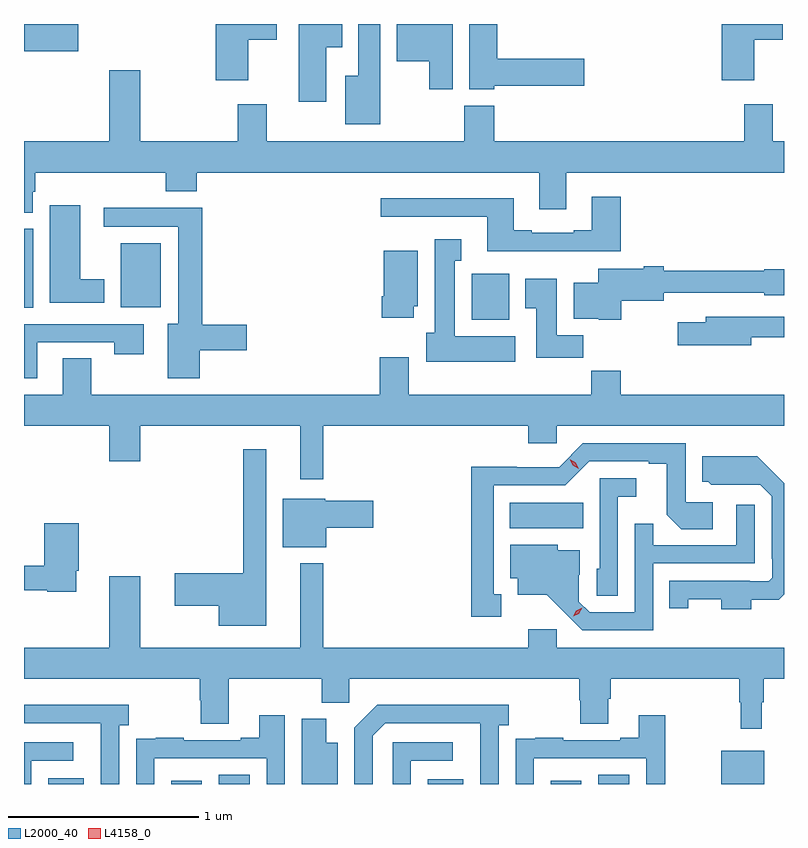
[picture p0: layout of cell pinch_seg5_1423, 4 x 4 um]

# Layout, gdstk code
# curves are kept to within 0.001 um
import gdstk
lib = gdstk.Library(unit=1e-6, precision=1e-09)
def R(c, l, rs):  # rectangles x0, y0, x1, y1
    for r in rs: c.add(gdstk.rectangle(r[:2], r[2:], *l))
def P(c, l, *ps):  # polygons
    for p in ps: c.add(gdstk.Polygon(p, *l))
L2000_40 = (2000, 40)
L4158_0 = (4158, 0)

pinch_seg5_1423 = lib.new_cell('pinch_seg5_1423')
R(pinch_seg5_1423, L2000_40, [(140.711,884.178,140.899,884.209), (141.359,884.178,141.52,884.194), (141.608,884.178,141.772,884.228), (142.709,884.178,142.897,884.203), (143.357,884.178,143.518,884.194), (143.606,884.178,143.77,884.228), (144.254,884.178,144.481,884.353), (143.141,885.524,143.528,885.658), (142.94,886.622,143.137,886.864), (140.584,886.684,140.632,887.1), (141.092,886.688,141.304,887.023)])
P(pinch_seg5_1423, L2000_40, [(144.427,888.094),(144.577,888.094),(144.577,888.178),(144.257,888.178),(144.257,887.883),(144.427,887.883)],
  [(142.174,888.056),(142.258,888.056),(142.258,888.178),(142.031,888.178),(142.031,887.769),(142.174,887.769)],
  [(142.84,888.178),(142.547,888.178),(142.547,887.981),(142.718,887.981),(142.718,887.835),(142.84,887.835)],
  [(142.459,888.178),(142.343,888.178),(142.343,887.905),(142.274,887.905),(142.274,887.651),(142.459,887.651)],
  [(140.869,888.176),(140.608,888.176),(140.608,888.178),(140.584,888.178),(140.584,888.034),(140.869,888.034)],
  [(141.763,888.094),(141.913,888.094),(141.913,888.178),(141.593,888.178),(141.593,887.883),(141.763,887.883)],
  [(143.058,887.854),(143.533,887.854),(143.533,887.996),(143.075,887.996),(143.075,888.178),(142.928,888.178),(142.928,887.834),(143.058,887.834)],
  [(140.629,887.295),(140.642,887.295),(140.642,887.396),(141.329,887.396),(141.329,887.297),(141.494,887.297),(141.494,887.396),(143.297,887.396),(143.297,887.202),(143.437,887.202),(143.437,887.396),(144.584,887.396),(144.584,887.56),(144.526,887.56),(144.526,887.755),(144.374,887.755),(144.374,887.56),(143.06,887.56),(143.06,887.749),(142.9,887.749),(142.9,887.56),(141.862,887.56),(141.862,887.755),(141.71,887.755),(141.71,887.56),(141.196,887.56),(141.196,887.935),(141.032,887.935),(141.032,887.56),(140.584,887.56),(140.584,887.185),(140.629,887.185)],
  [(143.726,887.269),(143.573,887.269),(143.573,887.092),(143.477,887.092),(143.477,887.079),(143.257,887.079),(143.257,887.092),(143.161,887.092),(143.161,887.26),(142.461,887.26),(142.461,887.163),(143.021,887.163),(143.021,886.982),(143.726,886.982)],
  [(141.007,886.834),(140.881,886.834),(140.881,887.224),(140.72,887.224),(140.72,886.712),(141.007,886.712)],
  [(141.508,886.46),(141.757,886.46),(141.757,886.595),(141.521,886.595),(141.521,887.21),(141.003,887.21),(141.003,887.112),(141.395,887.112),(141.395,886.6),(141.341,886.6),(141.341,886.314),(141.508,886.314)],
  [(143.17,886.534),(142.852,886.534),(142.852,886.931),(142.885,886.931),(142.885,887.044),(142.745,887.044),(142.745,886.554),(142.7,886.554),(142.7,886.4),(143.17,886.4)],
  [(142.636,886.692),(142.657,886.692),(142.657,886.984),(142.478,886.984),(142.478,886.744),(142.466,886.744),(142.466,886.632),(142.636,886.632)],
  [(143.728,886.721),(143.95,886.721),(143.95,886.764),(144.48,886.764),(144.48,886.751),(144.584,886.751),(144.584,886.886),(144.48,886.886),(144.48,886.88),(143.95,886.88),(143.95,886.904),(143.846,886.904),(143.846,886.891),(143.606,886.891),(143.606,886.816),(143.477,886.816),(143.477,886.628),(143.61,886.628),(143.61,886.622),(143.728,886.622)],
  [(143.528,886.54),(143.389,886.54),(143.389,886.837),(143.222,886.837),(143.222,886.681),(143.279,886.681),(143.279,886.422),(143.528,886.422)],
  [(144.412,886.53),(144.584,886.53),(144.584,886.638),(144.173,886.638),(144.173,886.609),(144.024,886.609),(144.024,886.487),(144.412,886.487)],
  [(140.653,886.503),(141.058,886.503),(141.058,886.44),(141.214,886.44),(141.214,886.599),(140.584,886.599),(140.584,886.314),(140.653,886.314)],
  [(142.159,886.064),(143.237,886.064),(143.237,885.971),(143.388,885.971),(143.388,886.064),(144.584,886.064),(144.584,886.228),(143.726,886.228),(143.726,886.352),(143.569,886.352),(143.569,886.228),(142.609,886.228),(142.609,886.423),(142.457,886.423),(142.457,886.228),(140.937,886.228),(140.937,886.418),(140.789,886.418),(140.789,886.228),(140.584,886.228),(140.584,886.064),(141.032,886.064),(141.032,885.876),(141.196,885.876),(141.196,886.064),(142.037,886.064),(142.037,885.783),(142.159,885.783)],
  [(143.095,885.177),(143.056,885.177),(143.056,885.75),(143.433,885.75),(143.559,885.876),(143.873,885.876),(143.873,885.864),(143.967,885.864),(143.967,885.596),(144.043,885.52),(144.208,885.52),(144.208,885.66),(144.066,885.66),(144.066,885.972),(143.526,885.972),(143.4,885.846),(143.178,885.846),(143.178,885.848),(142.938,885.848),(142.938,885.057),(143.095,885.057)],
  [(141.859,885.94),(141.738,885.94),(141.738,885.287),(141.378,885.287),(141.378,885.116),(141.608,885.116),(141.608,885.011),(141.859,885.011)],
  [(144.412,885.149),(144.556,885.149),(144.584,885.177),(144.584,885.761),(144.443,885.904),(144.155,885.904),(144.155,885.768),(144.186,885.768),(144.202,885.752),(144.459,885.753),(144.519,885.693),(144.519,885.364),(144.522,885.364),(144.522,885.264),(144.504,885.246),(144.404,885.246),(144.404,885.249),(143.98,885.249),(143.98,885.102),(144.081,885.102),(144.081,885.151),(144.254,885.151),(144.254,885.098),(144.412,885.098)],
  [(143.709,885.689),(143.806,885.689),(143.806,885.786),(143.613,885.786),(143.613,885.312),(143.598,885.312),(143.598,885.169),(143.709,885.169)],
  [(142.174,885.527),(142.423,885.527),(142.423,885.669),(142.17,885.669),(142.17,885.679),(141.947,885.679),(141.947,885.425),(142.174,885.425)],
  [(143.895,885.339),(144.429,885.339),(144.429,885.649),(144.333,885.649),(144.333,885.435),(143.897,885.435),(143.897,885.548),(143.799,885.548),(143.799,885.081),(143.562,885.081),(143.505,885.138),(143.505,885.28),(143.509,885.28),(143.509,885.409),(143.394,885.409),(143.394,885.436),(143.144,885.436),(143.144,885.26),(143.183,885.26),(143.183,885.173),(143.335,885.173),(143.522,884.988),(143.895,884.988)],
  [(140.86,885.301),(140.873,885.301),(140.873,885.55),(140.69,885.55),(140.69,885.326),(140.584,885.326),(140.584,885.198),(140.706,885.198),(140.706,885.19),(140.86,885.19)],
  [(144.466,884.609),(144.478,884.609),(144.478,884.732),(144.584,884.732),(144.584,884.896),(143.388,884.896),(143.388,884.992),(143.237,884.992),(143.237,884.896),(142.159,884.896),(142.159,885.34),(142.037,885.34),(142.037,884.896),(141.196,884.896),(141.196,885.271),(141.032,885.271),(141.032,884.896),(140.584,884.896),(140.584,884.732),(141.509,884.732),(141.509,884.619),(141.514,884.619),(141.514,884.494),(141.661,884.494),(141.661,884.732),(142.15,884.732),(142.15,884.606),(142.296,884.606),(142.296,884.732),(143.507,884.732),(143.507,884.619),(143.512,884.619),(143.512,884.494),(143.659,884.494),(143.659,884.626),(143.672,884.626),(143.672,884.732),(144.349,884.732),(144.349,884.609),(144.357,884.609),(144.357,884.469),(144.466,884.469)],
  [(141.084,884.486),(141.136,884.486),(141.136,884.596),(140.584,884.596),(140.584,884.499),(140.988,884.499),(140.988,884.178),(141.084,884.178)],
  [(142.419,884.433),(142.485,884.499),(142.985,884.499),(142.986,884.178),(143.082,884.178),(143.082,884.486),(143.134,884.486),(143.134,884.596),(142.444,884.596),(142.323,884.475),(142.323,884.178),(142.419,884.178)],
  [(141.27,884.313),(141.861,884.313),(141.861,884.178),(141.957,884.178),(141.957,884.539),(141.821,884.539),(141.821,884.422),(141.725,884.422),(141.725,884.409),(141.425,884.409),(141.425,884.422),(141.277,884.422),(141.277,884.415),(141.175,884.415),(141.175,884.306),(141.174,884.306),(141.174,884.178),(141.27,884.178)],
  [(143.268,884.313),(143.859,884.313),(143.859,884.178),(143.96,884.178),(143.96,884.539),(143.819,884.539),(143.819,884.422),(143.723,884.422),(143.723,884.409),(143.423,884.409),(143.423,884.422),(143.275,884.422),(143.275,884.415),(143.173,884.415),(143.173,884.306),(143.172,884.306),(143.172,884.178),(143.268,884.178)],
  [(142.234,884.395),(142.174,884.395),(142.174,884.521),(142.047,884.521),(142.047,884.178),(142.234,884.178)],
  [(142.62,884.301),(142.84,884.301),(142.84,884.397),(142.524,884.397),(142.524,884.178),(142.62,884.178)],
  [(140.622,884.301),(140.842,884.301),(140.842,884.397),(140.584,884.397),(140.584,884.178),(140.622,884.178)])
P(pinch_seg5_1423, L4158_0, [(143.474,885.06),(143.474,885.06),(143.491,885.09),(143.521,885.105),(143.522,885.105),(143.522,885.105),(143.504,885.075),(143.474,885.06)],
  [(143.505,885.836),(143.473,885.855),(143.456,885.887),(143.456,885.888),(143.456,885.888),(143.488,885.868),(143.505,885.836),(143.505,885.836)])

lib.write_gds('pinch_seg5_1423.gds')
